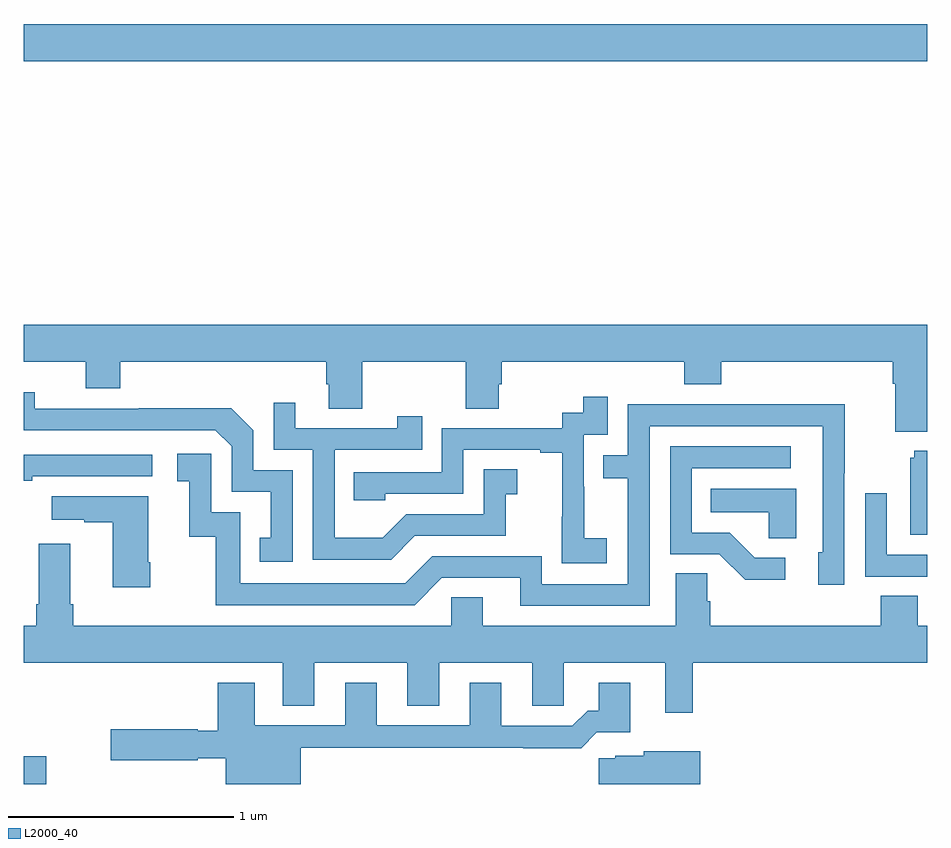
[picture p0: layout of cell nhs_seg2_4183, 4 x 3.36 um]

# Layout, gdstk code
import gdstk
lib = gdstk.Library(unit=1e-6, precision=1e-09)
def R(c, l, rs):  # rectangles x0, y0, x1, y1
    for r in rs: c.add(gdstk.rectangle(r[:2], r[2:], *l))
def P(c, l, *ps):  # polygons
    for p in ps: c.add(gdstk.Polygon(p, *l))
L2000_40 = (2000, 40)

nhs_seg2_4183 = lib.new_cell('nhs_seg2_4183')
R(nhs_seg2_4183, L2000_40, [(337,613.8,337.099,613.923), (337,617,341,617.164)])
P(nhs_seg2_4183, L2000_40, [(340.999,615.466),(341,615.466),(341,615.832),(337,615.832),(337,615.668),(337.274,615.668),(337.274,615.551),(337.427,615.551),(337.427,615.668),(338.339,615.668),(338.339,615.57),(338.351,615.57),(338.351,615.46),(338.499,615.46),(338.499,615.668),(338.956,615.668),(338.956,615.46),(339.103,615.46),(339.103,615.57),(339.116,615.57),(339.116,615.668),(339.923,615.668),(339.923,615.569),(340.088,615.569),(340.088,615.668),(340.847,615.668),(340.847,615.572),(340.859,615.572),(340.859,615.359),(340.999,615.359)],
  [(338.19,615.189),(338.016,615.189),(338.016,615.366),(337.918,615.464),(337.51,615.464),(337.51,615.462),(337.05,615.462),(337.05,615.535),(337,615.535),(337,615.366),(337.848,615.366),(337.92,615.294),(337.92,615.093),(338.093,615.093),(338.093,614.889),(338.044,614.889),(338.044,614.784),(338.19,614.784)],
  [(339.58,614.887),(339.482,614.887),(339.482,615.116),(339.48,615.116),(339.48,615.345),(339.585,615.345),(339.585,615.514),(339.477,615.514),(339.477,615.444),(339.384,615.444),(339.384,615.375),(338.85,615.375),(338.85,615.18),(338.461,615.18),(338.461,615.057),(338.601,615.057),(338.601,615.084),(338.946,615.084),(338.946,615.279),(339.287,615.279),(339.287,615.267),(339.383,615.267),(339.383,614.983),(339.382,614.983),(339.382,614.777),(339.58,614.777)],
  [(338.731,614.898),(339.135,614.898),(339.135,615.083),(339.184,615.083),(339.184,615.193),(339.036,615.193),(339.036,614.994),(338.694,614.994),(338.59,614.89),(338.376,614.89),(338.376,615.279),(338.765,615.279),(338.765,615.427),(338.654,615.427),(338.654,615.375),(338.203,615.375),(338.203,615.487),(338.106,615.487),(338.106,615.279),(338.28,615.279),(338.28,614.793),(338.626,614.793)],
  [(339.771,615.384),(340.536,615.384),(340.536,614.826),(340.517,614.826),(340.517,614.682),(340.632,614.682),(340.632,615.175),(340.635,615.175),(340.635,615.482),(340.171,615.482),(340.171,615.48),(339.675,615.48),(339.675,615.255),(339.565,615.255),(339.565,615.154),(339.675,615.154),(339.675,614.685),(339.294,614.685),(339.294,614.808),(338.808,614.808),(338.688,614.688),(337.959,614.688),(337.959,615.003),(337.83,615.003),(337.83,615.262),(337.68,615.262),(337.68,615.141),(337.733,615.141),(337.733,614.895),(337.851,614.895),(337.851,614.592),(338.73,614.592),(338.85,614.712),(339.197,614.712),(339.197,614.589),(339.771,614.589)],
  [(340.372,614.802),(340.237,614.802),(340.126,614.913),(339.957,614.913),(339.957,615.198),(340.396,615.198),(340.396,615.294),(339.861,615.294),(339.861,614.817),(340.08,614.817),(340.193,614.705),(340.372,614.705)],
  [(341,615.274),(340.943,615.274),(340.943,615.243),(340.925,615.243),(340.925,614.903),(341,614.903)],
  [(337.037,615.162),(337.57,615.162),(337.57,615.258),(337,615.258),(337,615.142),(337.037,615.142)],
  [(340.42,615.106),(340.042,615.106),(340.042,615.002),(340.299,615.002),(340.299,614.887),(340.42,614.887)],
  [(341,614.814),(340.821,614.814),(340.821,615.088),(340.725,615.088),(340.725,614.718),(341,614.718)],
  [(337.56,614.782),(337.552,614.782),(337.552,615.073),(337.125,615.073),(337.125,614.969),(337.268,614.969),(337.268,614.959),(337.394,614.959),(337.394,614.67),(337.56,614.67)],
  [(339.251,614.146),(339.39,614.146),(339.39,614.336),(339.839,614.336),(339.839,614.115),(339.961,614.115),(339.961,614.336),(341,614.336),(341,614.5),(340.958,614.5),(340.958,614.633),(340.793,614.633),(340.793,614.5),(340.04,614.5),(340.04,614.609),(340.026,614.609),(340.026,614.732),(339.887,614.732),(339.887,614.5),(339.031,614.5),(339.031,614.627),(338.892,614.627),(338.892,614.5),(337.22,614.5),(337.22,614.596),(337.207,614.596),(337.207,614.863),(337.067,614.863),(337.067,614.596),(337.055,614.596),(337.055,614.5),(337,614.5),(337,614.336),(338.147,614.336),(338.147,614.146),(338.287,614.146),(338.287,614.336),(338.699,614.336),(338.699,614.146),(338.839,614.146),(338.839,614.336),(339.251,614.336)],
  [(338.227,613.96),(339.211,613.96),(339.211,613.958),(339.467,613.958),(339.537,614.028),(339.685,614.028),(339.685,614.248),(339.545,614.248),(339.545,614.125),(339.496,614.125),(339.429,614.058),(339.115,614.058),(339.115,614.248),(338.975,614.248),(338.975,614.061),(338.563,614.061),(338.563,614.248),(338.423,614.248),(338.423,614.061),(338.023,614.061),(338.023,614.248),(337.859,614.248),(337.859,614.035),(337.77,614.035),(337.77,614.043),(337.386,614.043),(337.386,613.906),(337.77,613.906),(337.77,613.914),(337.895,613.914),(337.895,613.8),(338.227,613.8)],
  [(339.994,613.945),(339.744,613.945),(339.744,613.924),(339.618,613.924),(339.618,613.913),(339.546,613.913),(339.546,613.8),(339.994,613.8)])

lib.write_gds('nhs_seg2_4183.gds')
